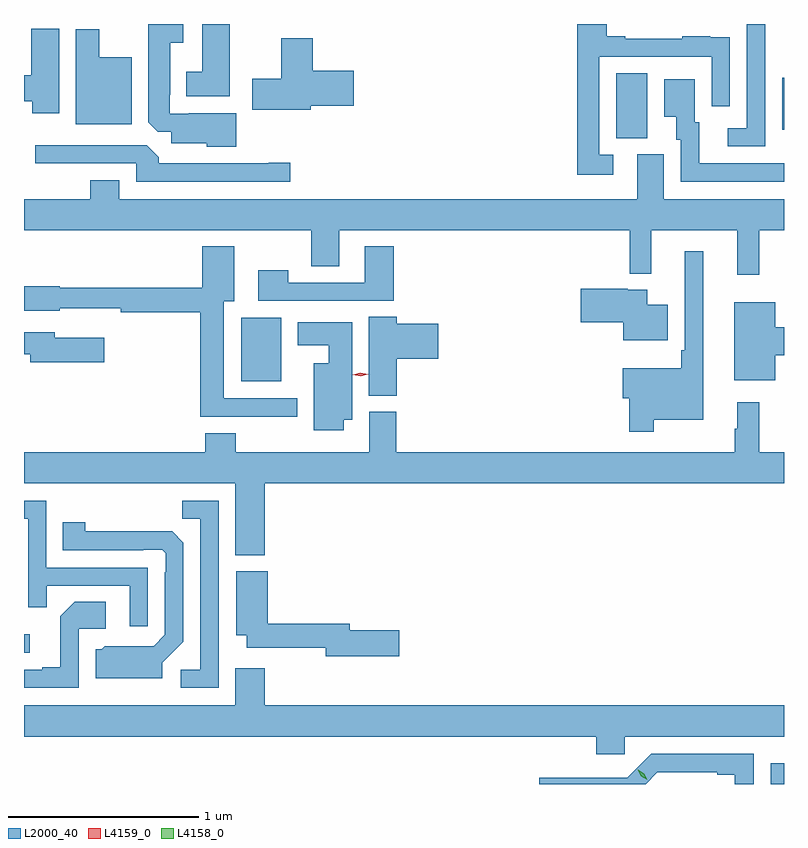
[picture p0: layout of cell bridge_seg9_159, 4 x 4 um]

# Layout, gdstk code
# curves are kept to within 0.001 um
import gdstk
lib = gdstk.Library(unit=1e-6, precision=1e-09)
def R(c, l, rs):  # rectangles x0, y0, x1, y1
    for r in rs: c.add(gdstk.rectangle(r[:2], r[2:], *l))
def P(c, l, *ps):  # polygons
    for p in ps: c.add(gdstk.Polygon(p, *l))
L2000_40 = (2000, 40)
L4158_0 = (4158, 0)
L4159_0 = (4159, 0)

bridge_seg9_159 = lib.new_cell('bridge_seg9_159')
R(bridge_seg9_159, L2000_40, [(331.301,1234.798,331.371,1234.906), (327.371,1235.49,327.4,1235.587), (328.514,1236.917,328.726,1237.252), (330.488,1238.197,330.652,1238.54), (331.361,1238.241,331.371,1238.515)])
P(bridge_seg9_159, L2000_40, [(328.453,1238.798),(328.31,1238.798),(328.31,1238.548),(328.226,1238.548),(328.226,1238.417),(328.453,1238.417)],
  [(331.272,1238.611),(331.273,1238.611),(331.273,1238.798),(331.176,1238.798),(331.176,1238.25),(331.074,1238.25),(331.074,1238.154),(331.272,1238.154)],
  [(330.472,1238.109),(330.399,1238.109),(330.399,1238.625),(330.99,1238.625),(330.99,1238.364),(331.086,1238.364),(331.086,1238.618),(331.085,1238.618),(331.085,1238.727),(330.983,1238.727),(330.983,1238.734),(330.835,1238.734),(330.835,1238.721),(330.535,1238.721),(330.535,1238.734),(330.439,1238.734),(330.439,1238.798),(330.283,1238.798),(330.283,1238.004),(330.472,1238.004)],
  [(328.489,1238.329),(328.237,1238.329),(328.237,1238.325),(328.137,1238.325),(328.137,1238.425),(328.141,1238.425),(328.141,1238.699),(328.21,1238.699),(328.21,1238.798),(328.025,1238.798),(328.025,1238.281),(328.074,1238.232),(328.145,1238.232),(328.145,1238.171),(328.332,1238.171),(328.332,1238.153),(328.489,1238.153)],
  [(327.556,1238.772),(327.41,1238.772),(327.41,1238.528),(327.371,1238.528),(327.371,1238.392),(327.415,1238.392),(327.415,1238.328),(327.556,1238.328)],
  [(327.937,1238.623),(327.766,1238.623),(327.766,1238.77),(327.644,1238.77),(327.644,1238.27),(327.937,1238.27)],
  [(328.879,1238.369),(329.107,1238.369),(329.107,1238.552),(328.892,1238.552),(328.892,1238.722),(328.724,1238.722),(328.724,1238.511),(328.572,1238.511),(328.572,1238.348),(328.879,1238.348)],
  [(331.371,1238.064),(330.925,1238.064),(330.925,1238.28),(330.901,1238.28),(330.901,1238.506),(330.74,1238.506),(330.74,1238.309),(330.803,1238.309),(330.803,1238.19),(330.828,1238.19),(330.828,1237.968),(331.371,1237.968)],
  [(328.771,1238.069),(328.658,1238.069),(328.658,1238.064),(328.079,1238.064),(328.079,1238.098),(328.017,1238.16),(327.429,1238.16),(327.429,1238.064),(327.963,1238.064),(327.963,1237.968),(328.771,1237.968)],
  [(331.241,1237.712),(331.371,1237.712),(331.371,1237.876),(330.739,1237.876),(330.739,1238.112),(330.599,1238.112),(330.599,1237.876),(327.871,1237.876),(327.871,1237.975),(327.719,1237.975),(327.719,1237.876),(327.371,1237.876),(327.371,1237.712),(328.882,1237.712),(328.882,1237.522),(329.029,1237.522),(329.029,1237.712),(330.558,1237.712),(330.558,1237.484),(330.671,1237.484),(330.671,1237.712),(331.124,1237.712),(331.124,1237.479),(331.241,1237.479)],
  [(328.81,1236.828),(328.423,1236.828),(328.423,1237.34),(328.477,1237.34),(328.477,1237.627),(328.31,1237.627),(328.31,1237.411),(327.558,1237.411),(327.558,1237.419),(327.371,1237.419),(327.371,1237.289),(327.558,1237.289),(327.558,1237.301),(327.88,1237.301),(327.88,1237.282),(328.298,1237.282),(328.298,1236.731),(328.81,1236.731)],
  [(329.318,1237.627),(329.165,1237.627),(329.165,1237.437),(328.761,1237.437),(328.761,1237.501),(328.605,1237.501),(328.605,1237.341),(329.318,1237.341)],
  [(330.685,1236.716),(330.946,1236.716),(330.946,1237.603),(330.849,1237.603),(330.849,1237.081),(330.829,1237.081),(330.829,1236.985),(330.522,1236.985),(330.522,1236.827),(330.556,1236.827),(330.556,1236.651),(330.685,1236.651)],
  [(330.76,1237.321),(330.652,1237.321),(330.652,1237.399),(330.548,1237.399),(330.548,1237.404),(330.3,1237.404),(330.3,1237.229),(330.524,1237.229),(330.524,1237.133),(330.76,1237.133)],
  [(331.324,1237.055),(331.371,1237.055),(331.371,1237.202),(331.324,1237.202),(331.324,1237.333),(331.109,1237.333),(331.109,1236.923),(331.324,1236.923)],
  [(329.333,1237.037),(329.551,1237.037),(329.551,1237.22),(329.333,1237.22),(329.333,1237.256),(329.186,1237.256),(329.186,1236.841),(329.333,1236.841)],
  [(329.053,1236.716),(329.098,1236.716),(329.098,1237.228),(328.811,1237.228),(328.811,1237.106),(328.976,1237.106),(328.976,1237.012),(328.895,1237.012),(328.895,1236.66),(329.053,1236.66)],
  [(327.793,1237.147),(327.532,1237.147),(327.532,1237.176),(327.371,1237.176),(327.371,1237.06),(327.404,1237.06),(327.404,1237.018),(327.793,1237.018)],
  [(331.371,1236.544),(331.241,1236.544),(331.241,1236.808),(331.124,1236.808),(331.124,1236.668),(331.113,1236.668),(331.113,1236.544),(329.33,1236.544),(329.33,1236.756),(329.189,1236.756),(329.189,1236.544),(328.485,1236.544),(328.485,1236.643),(328.325,1236.643),(328.325,1236.544),(327.371,1236.544),(327.371,1236.38),(328.484,1236.38),(328.484,1236.002),(328.637,1236.002),(328.637,1236.38),(331.371,1236.38)],
  [(328.395,1236.288),(328.204,1236.288),(328.204,1236.193),(328.299,1236.193),(328.299,1235.4),(328.197,1235.4),(328.197,1235.304),(328.395,1235.304)],
  [(328.023,1235.937),(327.489,1235.937),(327.489,1236.288),(327.371,1236.288),(327.371,1236.195),(327.393,1236.195),(327.393,1235.728),(327.491,1235.728),(327.491,1235.841),(327.927,1235.841),(327.927,1235.628),(328.023,1235.628)],
  [(328.099,1235.436),(328.209,1235.546),(328.209,1236.068),(328.15,1236.127),(327.693,1236.128),(327.693,1236.175),(327.574,1236.175),(327.574,1236.027),(327.998,1236.027),(327.998,1236.03),(328.098,1236.03),(328.116,1236.012),(328.116,1235.912),(328.113,1235.912),(328.113,1235.583),(328.053,1235.523),(327.796,1235.524),(327.78,1235.508),(327.749,1235.508),(327.749,1235.354),(328.099,1235.354)],
  [(329.347,1235.606),(329.086,1235.606),(329.086,1235.642),(328.654,1235.642),(328.654,1235.917),(328.487,1235.917),(328.487,1235.582),(328.544,1235.582),(328.544,1235.514),(328.958,1235.514),(328.958,1235.471),(329.347,1235.471)],
  [(327.66,1235.616),(327.802,1235.616),(327.802,1235.756),(327.637,1235.756),(327.561,1235.68),(327.561,1235.413),(327.467,1235.413),(327.467,1235.4),(327.371,1235.4),(327.371,1235.304),(327.66,1235.304)],
  [(330.534,1235.048),(331.371,1235.048),(331.371,1235.212),(328.637,1235.212),(328.637,1235.407),(328.484,1235.407),(328.484,1235.212),(327.371,1235.212),(327.371,1235.048),(330.383,1235.048),(330.383,1234.955),(330.534,1234.955)],
  [(330.705,1234.86),(331.019,1234.86),(331.019,1234.848),(331.113,1234.848),(331.113,1234.798),(331.212,1234.798),(331.212,1234.956),(330.672,1234.956),(330.546,1234.83),(330.324,1234.83),(330.324,1234.832),(330.084,1234.832),(330.084,1234.798),(330.643,1234.798)])
P(bridge_seg9_159, L4158_0, [(330.652,1234.82),(330.62,1234.839),(330.602,1234.872),(330.602,1234.872),(330.603,1234.872),(330.635,1234.853),(330.652,1234.821),(330.652,1234.82)])
P(bridge_seg9_159, L4159_0, [(329.143,1236.943),(329.102,1236.951),(329.102,1236.952),(329.102,1236.952),(329.142,1236.963),(329.182,1236.954),(329.183,1236.954),(329.182,1236.954)])

lib.write_gds('bridge_seg9_159.gds')
